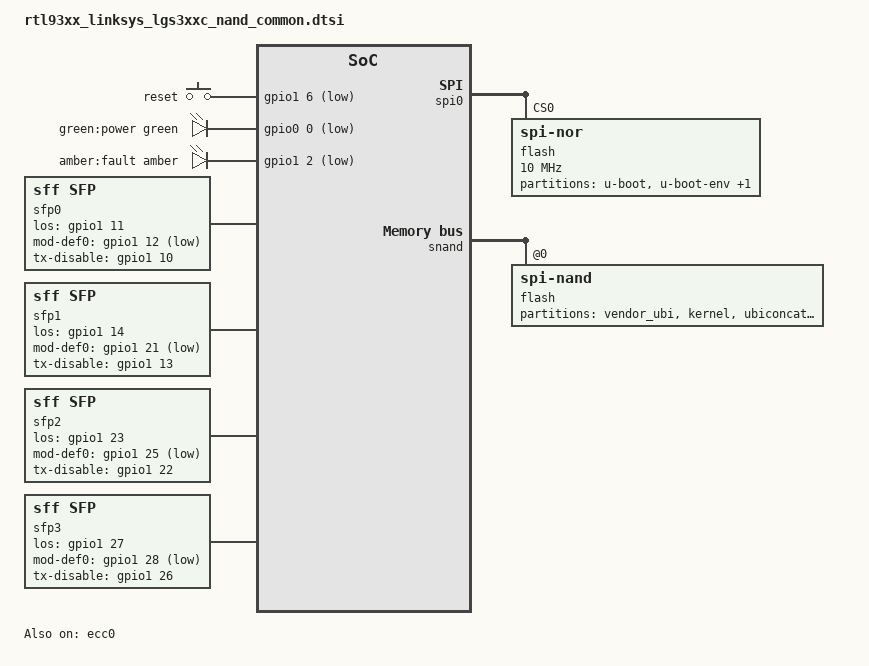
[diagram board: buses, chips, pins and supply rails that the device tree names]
// SPDX-License-Identifier: (GPL-2.0-or-later or MIT)

#include <dt-bindings/gpio/gpio.h>
#include <dt-bindings/input/input.h>
#include <dt-bindings/leds/common.h>

/ {
	aliases {
		label-mac-device = &ethernet0;
		led-boot = &led_power;
		led-failsafe = &led_fault;
		led-running = &led_power;
		led-upgrade = &led_power;
	};

	keys {
		compatible = "gpio-keys-polled";
		poll-interval = <100>;

		reset {
			label = "reset";
			gpios = <&gpio1 6 GPIO_ACTIVE_LOW>;
			linux,code = <KEY_RESTART>;
		};
	};

	leds {
		compatible = "gpio-leds";
		pinctrl-names = "default";
		pinctrl-0 = <&pinmux_disable_sys_led>;

		led_power: led-0 {
			label = "green:power";
			color = <LED_COLOR_ID_GREEN>;
			function = LED_FUNCTION_POWER;
			gpios = <&gpio0 0 GPIO_ACTIVE_LOW>;
		};

		led_fault: led-1 {
			label = "amber:fault";
			color = <LED_COLOR_ID_AMBER>;
			function = LED_FUNCTION_FAULT;
			gpios = <&gpio1 2 GPIO_ACTIVE_LOW>;
		};
	};

	sfp0: sfp-p49 {
		compatible = "sff,sfp";
		los-gpio = <&gpio1 11 GPIO_ACTIVE_HIGH>;
		mod-def0-gpio = <&gpio1 12 GPIO_ACTIVE_LOW>;
		tx-disable-gpio = <&gpio1 10 GPIO_ACTIVE_HIGH>;
	};
	sfp1: sfp-p50 {
		compatible = "sff,sfp";
		los-gpio = <&gpio1 14 GPIO_ACTIVE_HIGH>;
		mod-def0-gpio = <&gpio1 21 GPIO_ACTIVE_LOW>;
		tx-disable-gpio = <&gpio1 13 GPIO_ACTIVE_HIGH>;
	};
	sfp2: sfp-p51 {
		compatible = "sff,sfp";
		los-gpio = <&gpio1 23 GPIO_ACTIVE_HIGH>;
		mod-def0-gpio = <&gpio1 25 GPIO_ACTIVE_LOW>;
		tx-disable-gpio = <&gpio1 22 GPIO_ACTIVE_HIGH>;
	};
	sfp3: sfp-p52 {
		compatible = "sff,sfp";
		los-gpio = <&gpio1 27 GPIO_ACTIVE_HIGH>;
		mod-def0-gpio = <&gpio1 28 GPIO_ACTIVE_LOW>;
		tx-disable-gpio = <&gpio1 26 GPIO_ACTIVE_HIGH>;
	};

	ubi-concat {
		compatible = "mtd-concat";
		devices = <&ubiconcat0 &ubiconcat1>;

		partitions {
			compatible = "fixed-partitions";
			#address-cells = <1>;
			#size-cells = <1>;

			partition@0 {
				label = "ubi";
				reg = <0x0 0x1d00000>;
			};
		};
	};
};

&ecc0 {
	status = "okay";
};

&ethernet0 {
	nvmem-cells = <&macaddr_ubootenv_ethaddr 0>;
	nvmem-cell-names = "mac-address";
};

&spi0 {
	status = "okay";
	flash@0 {
		compatible = "jedec,spi-nor";
		reg = <0>;
		spi-max-frequency = <10000000>;

		partitions {
			compatible = "fixed-partitions";
			#address-cells = <1>;
			#size-cells = <1>;

			partition@0 {
				label = "u-boot";
				reg = <0x0 0xe0000>;
				read-only;
			};
			partition@e0000 {
				label = "u-boot-env";
				reg = <0xe0000 0x10000>;

				nvmem-layout {
					compatible = "u-boot,env";

					macaddr_ubootenv_ethaddr: ethaddr {
						#nvmem-cell-cells = <1>;
					};
				};
			};
			partition@f0000 {
				label = "u-boot-env2";
				reg = <0xf0000 0x10000>;
			};
		};
	};
};

&snand {
	status = "okay";
	flash@0 {
		compatible = "spi-nand";
		reg = <0>;

		nand-ecc-engine = <&ecc0>;
		nand-ecc-strength = <6>;
		nand-ecc-step-size = <512>;
		nand-ecc-algo = "bch";
		nand-ecc-placement = "oob";

		partitions {
			compatible = "fixed-partitions";
			#address-cells = <1>;
			#size-cells = <1>;

			partition@0 {
				label = "vendor_ubi";
				reg = <0x0 0x4000000>;
				read-only;
			};
			partition@4000000 {
				label = "kernel";
				reg = <0x4000000 0xa00000>;
			};
			ubiconcat0: partition@4a00000 {
				label = "ubiconcat0";
				reg = <0x4a00000 0x1400000>;
			};
			partition@5e00000 {
				label = "runtime2";
				reg = <0x5e00000 0x1500000>;
				read-only;
			};
			ubiconcat1: partition@7300000 {
				label = "ubiconcat1";
				reg = <0x7300000 0x900000>;
			};
		};
	};
};
